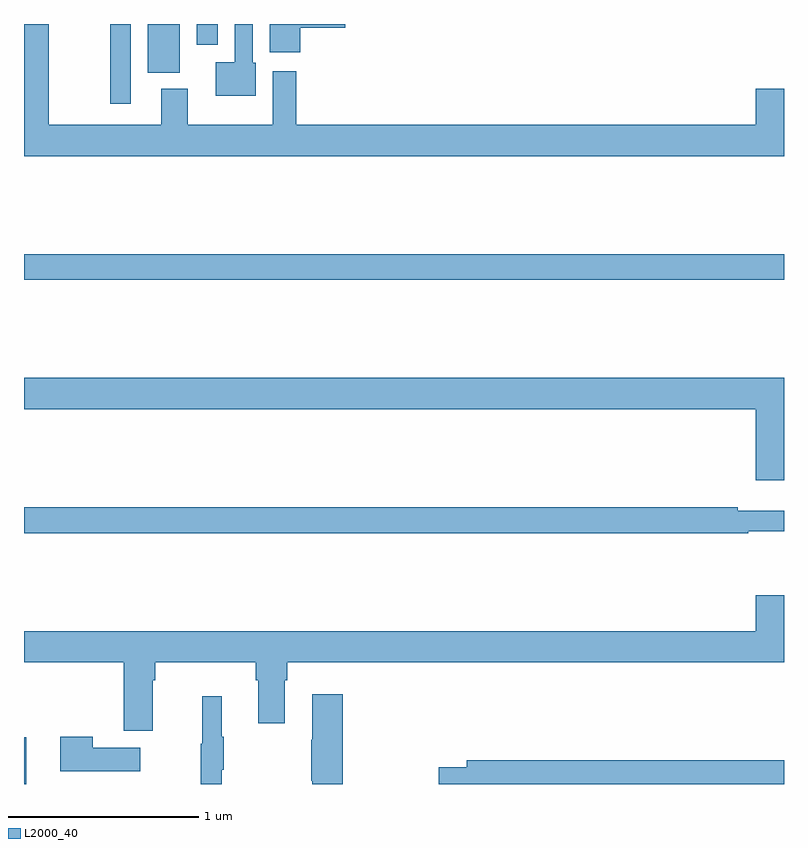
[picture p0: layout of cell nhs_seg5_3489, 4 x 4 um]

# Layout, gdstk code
import gdstk
lib = gdstk.Library(unit=1e-6, precision=1e-09)
def R(c, l, rs):  # rectangles x0, y0, x1, y1
    for r in rs: c.add(gdstk.rectangle(r[:2], r[2:], *l))
def P(c, l, *ps):  # polygons
    for p in ps: c.add(gdstk.Polygon(p, *l))
L2000_40 = (2000, 40)

nhs_seg5_3489 = lib.new_cell('nhs_seg5_3489')
R(nhs_seg5_3489, L2000_40, [(317,842.799,317.012,843.046), (317,845.452,321,845.588), (317.454,846.378,317.562,846.799), (317.651,846.542,317.821,846.799), (317.909,846.69,318.019,846.799)])
P(nhs_seg5_3489, L2000_40, [(321,846.457),(320.852,846.457),(320.852,846.268),(318.434,846.268),(318.434,846.55),(318.308,846.55),(318.308,846.268),(317.863,846.268),(317.863,846.457),(317.723,846.457),(317.723,846.268),(317.131,846.268),(317.131,846.799),(317,846.799),(317,846.104),(321,846.104)],
  [(318.22,846.594),(318.204,846.594),(318.204,846.799),(318.108,846.799),(318.108,846.598),(318.008,846.598),(318.008,846.422),(318.22,846.422)],
  [(318.455,846.779),(318.691,846.779),(318.691,846.799),(318.293,846.799),(318.293,846.651),(318.455,846.651)],
  [(321,844.936),(317,844.936),(317,844.772),(320.852,844.772),(320.852,844.398),(321,844.398)],
  [(320.812,844.128),(321,844.128),(321,844.237),(320.756,844.237),(320.756,844.256),(317,844.256),(317,844.12),(320.812,844.12)],
  [(317.677,843.344),(317.69,843.344),(317.69,843.44),(318.221,843.44),(318.221,843.344),(318.233,843.344),(318.233,843.12),(318.373,843.12),(318.373,843.344),(318.386,843.344),(318.386,843.44),(321,843.44),(321,843.793),(320.852,843.793),(320.852,843.604),(317,843.604),(317,843.44),(317.525,843.44),(317.525,843.078),(317.677,843.078)],
  [(318.677,843.271),(318.518,843.271),(318.518,843.032),(318.511,843.032),(318.511,842.815),(318.518,842.815),(318.518,842.799),(318.677,842.799)],
  [(318.041,842.875),(318.052,842.875),(318.052,843.049),(318.041,843.049),(318.041,843.262),(317.938,843.262),(317.938,843.012),(317.931,843.012),(317.931,842.799),(318.041,842.799)],
  [(317.611,842.989),(317.363,842.989),(317.363,843.049),(317.192,843.049),(317.192,842.867),(317.611,842.867)],
  [(321,842.924),(319.331,842.924),(319.331,842.888),(319.182,842.888),(319.182,842.799),(321,842.799)])

lib.write_gds('nhs_seg5_3489.gds')
